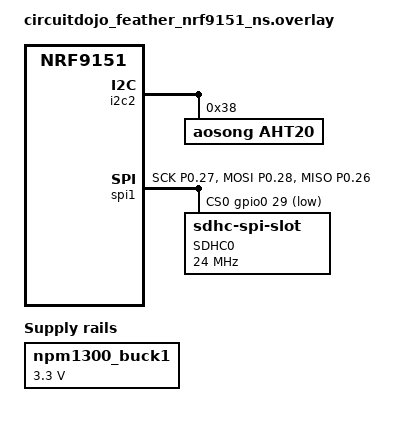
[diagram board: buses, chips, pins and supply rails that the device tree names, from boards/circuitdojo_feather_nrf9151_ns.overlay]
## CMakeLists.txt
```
# SPDX-License-Identifier: Apache-2.0

cmake_minimum_required(VERSION 3.21)

find_package(Zephyr HINTS $ENV{ZEPHYR_BASE})
project(gps-tracker-test)

# Convert certificate to hex file
set(gen_dir ${CMAKE_CURRENT_BINARY_DIR}/certs)
zephyr_include_directories(${gen_dir})

zephyr_include_directories(src/gps)
zephyr_include_directories(src/networking)
zephyr_include_directories(src/sensors)
zephyr_include_directories(src/sync)
zephyr_include_directories(src/util)
zephyr_include_directories(src/sdcard)
zephyr_include_directories(src/ui)
zephyr_include_directories(src/low_power)

generate_inc_file_for_target(
    app
    cert/LetsEncryptCert.pem
    ${gen_dir}/root_cert.pem.inc
)

target_sources(app PRIVATE
    src/main.cpp
    src/startup.c

    src/gps/gps.cpp
    src/gps/assistance.cpp
    
    src/networking/network_info.cpp
    src/networking/connectivity.cpp
    src/networking/dns.cpp
    src/networking/network_requests.cpp
    src/networking/tls.cpp
    src/networking/packet_builder.cpp

    src/sensors/battery.cpp
    src/sensors/temp_sensor.cpp
    src/sensors/pmic.cpp

    src/util/watchdog.cpp

    src/sdcard/sdcard.cpp

    src/ui/device_ui.cpp

    src/low_power/low_power.cpp
)
```

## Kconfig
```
#
# Copyright (c) 2020 Nordic Semiconductor ASA
#
# SPDX-License-Identifier: LicenseRef-Nordic-5-Clause
#

menu "GPS Tracker"

config TRACCAR_HOSTNAME
    string "Server Hostname"
    depends on NETWORKING
    help
        Url for traccar server, eg traccar.example.com

config TRACCAR_PORT
    string "Port"
    depends on NETWORKING
    help
        Traccar Port


config DNS_CACHE_ENTRIES 
    int "Cache entries"
    range 1 10
    default 3
    help
        amount of URL's DNS queries to cache

config NETWORK_PACKET_SIZE
    int "Packet Size"
    range 512 4096
    default 512
    help
        size of a network packet that will be queued

menu "GPS Settings"

config GPS_TIMEOUT_SECONDS
	int "GPS fix timeout"
	range 120 1800
	default 600
	help
	  Time in seconds to wait for a GPS fix before restarting.
	  If no fix is obtained within this time, GPS will be stopped
	  and restarted after the restart delay.

config GPS_RESTART_DELAY_SECONDS
	int "GPS restart delay"
	range 10 1800
	default 600
	help
	  Time in seconds to wait before restarting GPS after a timeout.
	  This delay allows the modem to cool down and potentially
	  improve conditions for the next fix attempt.

config GPS_PACKET_RATE_LIMIT_MILLISECONDS
    int "rate limit"
    default 30000
    help
      The minium amount of time between sending up GPS packets

endmenu

menu "SD Card"

config TRACKCAR_ENABLE_SD_CARD
	bool "Enable SD card logging"
	default n
	select DISK_ACCESS
	select DISK_DRIVERS
	select DISK_DRIVER_SDMMC
	select FILE_SYSTEM
	select FAT_FILESYSTEM_ELM
	select FILE_SYSTEM_MKFS
	select FS_FATFS_EXFAT
	depends on !NRF_MODEM_LIB_TRACE
	help
	  Enable logging to SD card. Note that this requires SD card
	  hardware and is incompatible with modem trace.

endmenu


config TRACKCAR_DEFAULT_LOG_LEVEL
    int "Level"
    range 0 4
    default 3
    help
        default log level for project

menu "Input"

config BUTTON_RELEASE_TIMEOUT_MS
    int "Timeout"
    range 50 5000
    default 250
    help
      Amount of milliseconds before a button release is registered and 
      processed

endmenu

menu "Low Power"
config TRACKCAR_LOW_POWER
    bool "Enable Low Power"
    default false
    depends on !DEBUG
    help
        Setting this to true enables low power/ship mode

endmenu


endmenu


menu "Zephyr Kernel"
source "Kconfig.zephyr"
endmenu

module = Tracker
module-str = GPS Tracker Kconfig
source "${ZEPHYR_BASE}/subsys/logging/Kconfig.template.log_config"
```

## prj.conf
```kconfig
# General
CONFIG_FPU=y
CONFIG_NRF_MODEM_LIB=y
CONFIG_STDOUT_CONSOLE=y
CONFIG_UART_INTERRUPT_DRIVEN=y
CONFIG_PICOLIBC_IO_FLOAT=y
CONFIG_AT_HOST_LIBRARY=n
CONFIG_GPIO=y
CONFIG_CPP=y
CONFIG_WATCHDOG=y
CONFIG_NCS_APPLICATION_BOOT_BANNER_STRING="GPS-Trackcar, With love from D&Z"

### Debugging
# For these to work, you need to manually edit
# the .config that the nordic vscode plugin creates.
# These are overriden by Nordics plugin, and if you set
# "Optimize for Debugging" in there, the TF-M firmware uses
# 199% of its available flash.
# CONFIG_DEBUG_OPTIMIZATIONS=y
# CONFIG_SIZE_OPTIMIZATIONS=n
# CONFIG_DEBUG=y
# --
# CONFIG_THREAD_ANALYZER=y
# CONFIG_THREAD_ANALYZER_AUTO=y
# CONFIG_THREAD_ANALYZER_AUTO_INTERVAL=10
# CONFIG_THREAD_NAME=y
###

# Accelerometer / Temperature Sensor
CONFIG_I2C=y
CONFIG_SENSOR=y
CONFIG_LIS2DH=y
CONFIG_REGULATOR=y

# LittleFS for modem pages
CONFIG_NVS=y
CONFIG_SETTINGS_NVS=y
CONFIG_SETTINGS=y
CONFIG_FLASH=y
CONFIG_FLASH_PAGE_LAYOUT=y
CONFIG_FLASH_MAP=y
CONFIG_SPI=y
CONFIG_FCB=y

### LTE Settings
# These Need more Research
CONFIG_LTE_LINK_CONTROL=y
# Request eDRX from the network
CONFIG_LTE_LC_EDRX_MODULE=y
CONFIG_LTE_EDRX_REQ=y
# PSM requested periodic TAU 8 hours
CONFIG_LTE_LC_PSM_MODULE=y
CONFIG_LTE_PSM_REQ=y
CONFIG_LTE_PSM_REQ_RPTAU="00101000"
# PSM requested active time 6 seconds
CONFIG_LTE_PSM_REQ_RAT="00000011"
###

### Networking
CONFIG_NETWORKING=y
CONFIG_NET_SOCKETS_OFFLOAD=y
CONFIG_NET_SOCKETS=y
CONFIG_POSIX_API=y
CONFIG_NET_IPV4=y
CONFIG_NET_IPV6=y
CONFIG_MODEM_KEY_MGMT=y

# Disable Duplicate Address Detection (DAD)
# due to not being properly implemented for offloaded interfaces.
# TODO: Really?
CONFIG_NET_IPV6_NBR_CACHE=n
CONFIG_NET_IPV6_MLD=n
###

# Higher level network interface control, versus modem specific commands
CONFIG_NET_CONNECTION_MANAGER=y
CONFIG_NET_CONNECTION_MANAGER_MONITOR_STACK_SIZE=4600
CONFIG_NRF_MODEM_LIB_NET_IF=y
CONFIG_NET_NATIVE=y

# Logging
CONFIG_TRACKCAR_DEFAULT_LOG_LEVEL=4
CONFIG_LOG=y
CONFIG_LOG_BACKEND_UART=y
CONFIG_LOG_MODE_DEFERRED=y
CONFIG_LOG_BACKEND_FS=y
CONFIG_LOG_RUNTIME_FILTERING=y

# Memory and stack configuration
CONFIG_HEAP_MEM_POOL_SIZE=4096
CONFIG_MAIN_STACK_SIZE=4096
CONFIG_SYSTEM_WORKQUEUE_STACK_SIZE=4096
CONFIG_LOG_BUFFER_SIZE=2048
CONFIG_AT_MONITOR_HEAP_SIZE=512
CONFIG_NRF_MODEM_LIB_HEAP_SIZE=2048

# SDCard
CONFIG_TRACKCAR_ENABLE_SD_CARD=n
CONFIG_SPI=y
CONFIG_TFM_SECURE_UART_SHARE_INSTANCE=y
CONFIG_NRF_MODEM_LIB_TRACE=n

# SDCard Backend Logging
# CONFIG_LOG_BACKEND_FS_FILE_PREFIX="log"
# CONFIG_LOG_BACKEND_FS_DIR="/SD:/logs"
# CONFIG_LOG_BACKEND_FS_FILE_SIZE=1024000000
# CONFIG_LOG_BACKEND_FS_FILES_LIMIT=16
# DO NOT set this while using FS backend, it causes an infinite loop!
# CONFIG_SD_LOG_LEVEL_DBG=y

# Button
CONFIG_INPUT=y

# PMIC
CONFIG_REGULATOR=y
CONFIG_REGULATOR_NPM1300=y

# Low Power
CONFIG_TRACKCAR_LOW_POWER=y
CONFIG_PM_DEVICE=y
CONFIG_DEBUG=n
```

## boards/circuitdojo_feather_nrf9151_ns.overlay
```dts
#include <zephyr/dt-bindings/i2c/i2c.h>

&npm1300_leds {
    nordic,led0-mode = "host";
    nordic,led1-mode = "host";
    nordic,led2-mode = "host";
};

&i2c2 {
    // clock-frequency = <I2C_BITRATE_FAST>;

    aht20: aht@38 {
        compatible = "aosong,aht20";
        reg = <0x38>;
    };
};

&pinctrl {
    spi1_default: spi1_default {
        group1 {
            psels = <NRF_PSEL(SPIM_SCK, 0, 27)>,
                    <NRF_PSEL(SPIM_MOSI, 0, 28)>,
                    <NRF_PSEL(SPIM_MISO, 0, 26)>;
        };
    };

    spi1_sleep: spi1_sleep {
        group1 {
            psels = <NRF_PSEL(SPIM_SCK, 0, 27)>,
                    <NRF_PSEL(SPIM_MOSI, 0, 28)>,
                    <NRF_PSEL(SPIM_MISO, 0, 26)>;
            low-power-enable;
        };
    };
};

&spi1 {
    compatible = "nordic,nrf-spim";
    status = "okay";
    pinctrl-0 = <&spi1_default>;
    pinctrl-1 = <&spi1_sleep>;
    pinctrl-names = "default", "sleep";
    cs-gpios = <&gpio0 29 GPIO_ACTIVE_LOW>;

    sdhc0: sdhc@0 {
        compatible = "zephyr,sdhc-spi-slot";
        reg = <0>;
        status = "okay";
        label = "SDHC0";
        spi-max-frequency = <24000000>;
        mmc {
            compatible = "zephyr,sdmmc-disk";
            status = "okay";
            disk-name = "SD";
        };
    };
};

&uart1 {
    status = "disabled";
};

/ {
    chosen {
        /delete-property/ nordic,modem-trace-uart;
    };
};

&npm1300_buck1 {
    regulator-min-microvolt = <3300000>;
    regulator-boot-on;
};

&npm1300_charger {
    term-microvolt = <4200000>;
};
```

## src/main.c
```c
/*
 * Copyright (c) 2019 Nordic Semiconductor ASA
 *
 * SPDX-License-Identifier: LicenseRef-Nordic-5-Clause
 */

#include <date_time.h>
#include <math.h>
#include <modem/lte_lc.h>
#include <modem/nrf_modem_lib.h>
#include <nrf_modem_at.h>
#include <nrf_modem_gnss.h>
#include <stdio.h>
#include <stdlib.h>
#include <string.h>
#include <zephyr/kernel.h>
#include <zephyr/logging/log.h>

LOG_MODULE_REGISTER(gnss_sample, LOG_LEVEL_DBG);

// #define CONFIG_GNSS_SAMPLE_MODE_CONTINUOUS 1

#define CONFIG_GNSS_SAMPLE_MODE_PERIODIC 1
#define CONFIG_GNSS_SAMPLE_PERIODIC_INTERVAL 10
#define CONFIG_GNSS_SAMPLE_PERIODIC_TIMEOUT 120

#define CONFIG_GNSS_SAMPLE_ASSISTANCE_MINIMAL 1
#define CONFIG_GNSS_SAMPLE_LTE_ON_DEMAND 1
#undef CONFIG_GNSS_SAMPLE_ASSISTANCE_NONE

#define PI 3.14159265358979323846
#define EARTH_RADIUS_METERS (6371.0 * 1000.0)

static struct k_work_q gnss_work_q;

#define GNSS_WORKQ_THREAD_STACK_SIZE 2304
#define GNSS_WORKQ_THREAD_PRIORITY 5

K_THREAD_STACK_DEFINE(gnss_workq_stack_area, GNSS_WORKQ_THREAD_STACK_SIZE);

// Use the nordic factory almanac
#include "assistance.h"
static struct nrf_modem_gnss_agnss_data_frame last_agnss;
static struct k_work agnss_data_get_work;
static volatile bool requesting_assistance;
// ---

static const char update_indicator[] = { '\\', '|', '/', '-' };

static struct nrf_modem_gnss_pvt_data_frame last_pvt;
static uint64_t fix_timestamp;

/* Reference position. */
static bool ref_used;
static double ref_latitude;
static double ref_longitude;

K_MSGQ_DEFINE(nmea_queue, sizeof(struct nrf_modem_gnss_nmea_data_frame*), 10, 4);
static K_SEM_DEFINE(pvt_data_sem, 0, 1);
static K_SEM_DEFINE(time_sem, 0, 1);

static struct k_poll_event events[2] = {
    K_POLL_EVENT_STATIC_INITIALIZER(K_POLL_TYPE_SEM_AVAILABLE,
        K_POLL_MODE_NOTIFY_ONLY,
        &pvt_data_sem, 0),
    K_POLL_EVENT_STATIC_INITIALIZER(K_POLL_TYPE_MSGQ_DATA_AVAILABLE,
        K_POLL_MODE_NOTIFY_ONLY,
        &nmea_queue, 0),
};

// BUILD_ASSERT(IS_ENABLED(CONFIG_LTE_NETWORK_MODE_LTE_M_GPS) || IS_ENABLED(CONFIG_LTE_NETWORK_MODE_NBIOT_GPS) || IS_ENABLED(CONFIG_LTE_NETWORK_MODE_LTE_M_NBIOT_GPS),
//     "CONFIG_LTE_NETWORK_MODE_LTE_M_GPS, "
//     "CONFIG_LTE_NETWORK_MODE_NBIOT_GPS or "
//     "CONFIG_LTE_NETWORK_MODE_LTE_M_NBIOT_GPS must be enabled");

// BUILD_ASSERT((sizeof(CONFIG_GNSS_SAMPLE_REFERENCE_LATITUDE) == 1 && sizeof(CONFIG_GNSS_SAMPLE_REFERENCE_LONGITUDE) == 1) || (sizeof(CONFIG_GNSS_SAMPLE_REFERENCE_LATITUDE) > 1 && sizeof(CONFIG_GNSS_SAMPLE_REFERENCE_LONGITUDE) > 1),
//     "CONFIG_GNSS_SAMPLE_REFERENCE_LATITUDE and "
//     "CONFIG_GNSS_SAMPLE_REFERENCE_LONGITUDE must be both either set or empty");

/* Returns the distance between two coordinates in meters. The distance is calculated using the
 * haversine formula.
 */
static double distance_calculate(double lat1, double lon1,
    double lat2, double lon2)
{
    double d_lat_rad = (lat2 - lat1) * PI / 180.0;
    double d_lon_rad = (lon2 - lon1) * PI / 180.0;

    double lat1_rad = lat1 * PI / 180.0;
    double lat2_rad = lat2 * PI / 180.0;

    double a = pow(sin(d_lat_rad / 2), 2) + pow(sin(d_lon_rad / 2), 2) * cos(lat1_rad) * cos(lat2_rad);

    double c = 2 * asin(sqrt(a));

    return EARTH_RADIUS_METERS * c;
}

static void print_distance_from_reference(struct nrf_modem_gnss_pvt_data_frame* pvt_data)
{
    if (!ref_used) {
        return;
    }

    double distance = distance_calculate(pvt_data->latitude, pvt_data->longitude,
        ref_latitude, ref_longitude);

    if (IS_ENABLED(CONFIG_GNSS_SAMPLE_MODE_TTFF_TEST)) {
        LOG_INF("Distance from reference: %.01f", distance);
    } else {
        printf("\nDistance from reference: %.01f\n", distance);
    }
}

#ifdef CONFIG_GNSS_SAMPLE_ASSISTANCE_NONE
#    error "bad"
#endif

static void gnss_event_handler(int event)
{
    int retval;
    struct nrf_modem_gnss_nmea_data_frame* nmea_data;

    switch (event) {
    case NRF_MODEM_GNSS_EVT_PVT:
        retval = nrf_modem_gnss_read(&last_pvt, sizeof(last_pvt), NRF_MODEM_GNSS_DATA_PVT);
        if (retval == 0) {
            k_sem_give(&pvt_data_sem);
        }
        break;

#if defined(CONFIG_GNSS_SAMPLE_MODE_TTFF_TEST)
    case NRF_MODEM_GNSS_EVT_FIX:
        /* Time to fix is calculated here, but it's printed from a delayed work to avoid
         * messing up the NMEA output.
         */
        time_to_fix = (k_uptime_get() - fix_timestamp) / 1000.0;
        k_work_schedule_for_queue(&gnss_work_q, &ttff_test_got_fix_work, K_MSEC(100));
        k_work_schedule_for_queue(&gnss_work_q, &ttff_test_prepare_work,
            K_SECONDS(CONFIG_GNSS_SAMPLE_MODE_TTFF_TEST_INTERVAL));
        break;
#endif /* CONFIG_GNSS_SAMPLE_MODE_TTFF_TEST */

    case NRF_MODEM_GNSS_EVT_NMEA:
        nmea_data = k_malloc(sizeof(struct nrf_modem_gnss_nmea_data_frame));
        if (nmea_data == NULL) {
            LOG_ERR("Failed to allocate memory for NMEA");
            break;
        }

        retval = nrf_modem_gnss_read(nmea_data,
            sizeof(struct nrf_modem_gnss_nmea_data_frame),
            NRF_MODEM_GNSS_DATA_NMEA);
        if (retval == 0) {
            retval = k_msgq_put(&nmea_queue, &nmea_data, K_NO_WAIT);
        }

        if (retval != 0) {
            k_free(nmea_data);
        }
        break;

    case NRF_MODEM_GNSS_EVT_AGNSS_REQ:
#if !defined(CONFIG_GNSS_SAMPLE_ASSISTANCE_NONE)
        retval = nrf_modem_gnss_read(&last_agnss,
            sizeof(last_agnss),
            NRF_MODEM_GNSS_DATA_AGNSS_REQ);
        if (retval == 0) {
            k_work_submit_to_queue(&gnss_work_q, &agnss_data_get_work);
        }
#endif /* !CONFIG_GNSS_SAMPLE_ASSISTANCE_NONE */
        break;

    default:
        break;
    }
}

#if !defined(CONFIG_GNSS_SAMPLE_ASSISTANCE_NONE)
#    if defined(CONFIG_GNSS_SAMPLE_LTE_ON_DEMAND)
K_SEM_DEFINE(lte_ready, 0, 1);

static void lte_lc_event_handler(const struct lte_lc_evt* const evt)
{
    switch (evt->type) {
    case LTE_LC_EVT_NW_REG_STATUS:
        if ((evt->nw_reg_status == LTE_LC_NW_REG_REGISTERED_HOME) || (evt->nw_reg_status == LTE_LC_NW_REG_REGISTERED_ROAMING)) {
            LOG_INF("Connected to LTE network");
            k_sem_give(&lte_ready);
        }
        break;

    default:
        break;
    }
}

void lte_connect(void)
{
    int err;

    LOG_INF("Connecting to LTE network");

    err = lte_lc_func_mode_set(LTE_LC_FUNC_MODE_ACTIVATE_LTE);
    if (err) {
        LOG_ERR("Failed to activate LTE, error: %d", err);
        return;
    }

    k_sem_take(&lte_ready, K_FOREVER);

    /* Wait for a while, because with IPv4v6 PDN the IPv6 activation takes a bit more time. */
    k_sleep(K_SECONDS(1));
}

void lte_disconnect(void)
{
    int err;

    err = lte_lc_func_mode_set(LTE_LC_FUNC_MODE_DEACTIVATE_LTE);
    if (err) {
        LOG_ERR("Failed to deactivate LTE, error: %d", err);
        return;
    }

    LOG_INF("LTE disconnected");
}
#    endif /* CONFIG_GNSS_SAMPLE_LTE_ON_DEMAND */

static const char* get_system_string(uint8_t system_id)
{
    switch (system_id) {
    case NRF_MODEM_GNSS_SYSTEM_INVALID:
        return "invalid";

    case NRF_MODEM_GNSS_SYSTEM_GPS:
        return "GPS";

    case NRF_MODEM_GNSS_SYSTEM_QZSS:
        return "QZSS";

    default:
        return "unknown";
    }
}

static void agnss_data_get_work_fn(struct k_work* item)
{
    ARG_UNUSED(item);

    int err;

    /* GPS data need is always expected to be present and first in list. */
    __ASSERT(last_agnss.system_count > 0,
        "GNSS system data need not found");
    __ASSERT(last_agnss.system[0].system_id == NRF_MODEM_GNSS_SYSTEM_GPS,
        "GPS data need not found");

#    if defined(CONFIG_GNSS_SAMPLE_ASSISTANCE_SUPL)
    /* SUPL doesn't usually provide NeQuick ionospheric corrections and satellite real time
     * integrity information. If GNSS asks only for those, the request should be ignored.
     */
    if (last_agnss.system[0].sv_mask_ephe == 0 && last_agnss.system[0].sv_mask_alm == 0 && (last_agnss.data_flags & ~(NRF_MODEM_GNSS_AGNSS_NEQUICK_REQUEST | NRF_MODEM_GNSS_AGNSS_INTEGRITY_REQUEST)) == 0) {
        LOG_INF("Ignoring assistance request for only NeQuick and/or integrity");
        return;
    }
#    endif /* CONFIG_GNSS_SAMPLE_ASSISTANCE_SUPL */

#    if defined(CONFIG_GNSS_SAMPLE_ASSISTANCE_MINIMAL)
    /* With minimal assistance, the request should be ignored if no GPS time or position
     * is requested.
     */
    if (!(last_agnss.data_flags & NRF_MODEM_GNSS_AGNSS_GPS_SYS_TIME_AND_SV_TOW_REQUEST) && !(last_agnss.data_flags & NRF_MODEM_GNSS_AGNSS_POSITION_REQUEST)) {
        LOG_INF("Ignoring assistance request because no GPS time or position is requested");
        return;
    }
#    endif /* CONFIG_GNSS_SAMPLE_ASSISTANCE_MINIMAL */

    if (last_agnss.data_flags == 0 && last_agnss.system[0].sv_mask_ephe == 0 && last_agnss.system[0].sv_mask_alm == 0) {
        LOG_INF("Ignoring assistance request because only QZSS data is requested");
        return;
    }

    requesting_assistance = true;

    LOG_INF("Assistance data needed: data_flags: 0x%02x", last_agnss.data_flags);
    for (int i = 0; i < last_agnss.system_count; i++) {
        LOG_INF("Assistance data needed: %s ephe: 0x%llx, alm: 0x%llx",
            get_system_string(last_agnss.system[i].system_id),
            last_agnss.system[i].sv_mask_ephe,
            last_agnss.system[i].sv_mask_alm);
    }

#    if defined(CONFIG_GNSS_SAMPLE_LTE_ON_DEMAND)
    lte_connect();
#    endif /* CONFIG_GNSS_SAMPLE_LTE_ON_DEMAND */

    err = assistance_request(&last_agnss);
    if (err) {
        LOG_ERR("Failed to request assistance data");
    }

#    if defined(CONFIG_GNSS_SAMPLE_LTE_ON_DEMAND)
    lte_disconnect();
#    endif /* CONFIG_GNSS_SAMPLE_LTE_ON_DEMAND */

    requesting_assistance = false;
}
#endif /* !CONFIG_GNSS_SAMPLE_ASSISTANCE_NONE */

static void date_time_evt_handler(const struct date_time_evt* evt)
{
    k_sem_give(&time_sem);
}

static int modem_init(void)
{
    if (IS_ENABLED(CONFIG_DATE_TIME)) {
        date_time_register_handler(date_time_evt_handler);
    }

#if defined(CONFIG_GNSS_SAMPLE_LTE_ON_DEMAND)
    lte_lc_register_handler(lte_lc_event_handler);
#elif !defined(CONFIG_GNSS_SAMPLE_ASSISTANCE_NONE)
    lte_lc_psm_req(true);

    LOG_INF("Connecting to LTE network");

    if (lte_lc_connect() != 0) {
        LOG_ERR("Failed to connect to LTE network");
        return -1;
    }

    LOG_INF("Connected to LTE network");

    if (IS_ENABLED(CONFIG_DATE_TIME)) {
        LOG_INF("Waiting for current time");

        /* Wait for an event from the Date Time library. */
        k_sem_take(&time_sem, K_MINUTES(10));

        if (!date_time_is_valid()) {
            LOG_WRN("Failed to get current time, continuing anyway");
        }
    }
#endif

    return 0;
}

static int sample_init(void)
{
    int err = 0;

    struct k_work_queue_config cfg = {
        .name = "gnss_work_q",
        .no_yield = false
    };

    k_work_queue_start(
        &gnss_work_q,
        gnss_workq_stack_area,
        K_THREAD_STACK_SIZEOF(gnss_workq_stack_area),
        GNSS_WORKQ_THREAD_PRIORITY,
        &cfg);

    k_work_init(&agnss_data_get_work, agnss_data_get_work_fn);

    err = assistance_init(&gnss_work_q);

    return err;
}

static int gnss_init_and_start(void)
{

#if defined(CONFIG_GNSS_SAMPLE_ASSISTANCE_NONE) || defined(CONFIG_GNSS_SAMPLE_LTE_ON_DEMAND)
    /* Enable GNSS. */
    if (lte_lc_func_mode_set(LTE_LC_FUNC_MODE_ACTIVATE_GNSS) != 0) {
        LOG_ERR("Failed to activate GNSS functional mode");
        return -1;
    }
#endif /* CONFIG_GNSS_SAMPLE_ASSISTANCE_NONE || CONFIG_GNSS_SAMPLE_LTE_ON_DEMAND */

    /* Configure GNSS. */
    if (nrf_modem_gnss_event_handler_set(gnss_event_handler) != 0) {
        LOG_ERR("Failed to set GNSS event handler");
        return -1;
    }

    /* Enable all supported NMEA messages. */
    uint16_t nmea_mask = NRF_MODEM_GNSS_NMEA_RMC_MASK | NRF_MODEM_GNSS_NMEA_GGA_MASK | NRF_MODEM_GNSS_NMEA_GLL_MASK | NRF_MODEM_GNSS_NMEA_GSA_MASK | NRF_MODEM_GNSS_NMEA_GSV_MASK;

    if (nrf_modem_gnss_nmea_mask_set(nmea_mask) != 0) {
        LOG_ERR("Failed to set GNSS NMEA mask");
        return -1;
    }

    /* Make QZSS satellites visible in the NMEA output. */
    if (nrf_modem_gnss_qzss_nmea_mode_set(NRF_MODEM_GNSS_QZSS_NMEA_MODE_CUSTOM) != 0) {
        LOG_WRN("Failed to enable custom QZSS NMEA mode");
    }

    /* This use case flag should always be set. */
    uint8_t use_case = NRF_MODEM_GNSS_USE_CASE_MULTIPLE_HOT_START;

    if (IS_ENABLED(CONFIG_GNSS_SAMPLE_MODE_PERIODIC) && !IS_ENABLED(CONFIG_GNSS_SAMPLE_ASSISTANCE_NONE)) {
        /* Disable GNSS scheduled downloads when assistance is used. */
        use_case |= NRF_MODEM_GNSS_USE_CASE_SCHED_DOWNLOAD_DISABLE;
    }

    if (nrf_modem_gnss_use_case_set(use_case) != 0) {
        LOG_WRN("Failed to set GNSS use case");
    }

#if defined(CONFIG_GNSS_SAMPLE_MODE_CONTINUOUS)
    /* Default to no power saving. */
    uint8_t power_mode = NRF_MODEM_GNSS_PSM_DISABLED;

#    if defined(CONFIG_GNSS_SAMPLE_POWER_SAVING_MODERATE)
    power_mode = NRF_MODEM_GNSS_PSM_DUTY_CYCLING_PERFORMANCE;
#    elif defined(CONFIG_GNSS_SAMPLE_POWER_SAVING_HIGH)
    power_mode = NRF_MODEM_GNSS_PSM_DUTY_CYCLING_POWER;
#    endif

    if (nrf_modem_gnss_power_mode_set(power_mode) != 0) {
        LOG_ERR("Failed to set GNSS power saving mode");
        return -1;
    }
#endif /* CONFIG_GNSS_SAMPLE_MODE_CONTINUOUS */

    /* Default to continuous tracking. */
    uint16_t fix_retry = 0;
    uint16_t fix_interval = 1;

#if defined(CONFIG_GNSS_SAMPLE_MODE_PERIODIC)
    fix_retry = CONFIG_GNSS_SAMPLE_PERIODIC_TIMEOUT;
    fix_interval = CONFIG_GNSS_SAMPLE_PERIODIC_INTERVAL;
#endif

    if (nrf_modem_gnss_fix_retry_set(fix_retry) != 0) {
        LOG_ERR("Failed to set GNSS fix retry");
        return -1;
    }

    if (nrf_modem_gnss_fix_interval_set(fix_interval) != 0) {
        LOG_ERR("Failed to set GNSS fix interval");
        return -1;
    }

    if (nrf_modem_gnss_start() != 0) {
        LOG_ERR("Failed to start GNSS");
        return -1;
    }

    int prio_rc = nrf_modem_gnss_prio_mode_enable();

    if (prio_rc != 0) {
        LOG_ERR("Failed to set GPS Priority Mode");
    }

    return 0;
}

static bool output_paused(void)
{
    return (requesting_assistance || assistance_is_active());
}

static void print_satellite_stats(struct nrf_modem_gnss_pvt_data_frame* pvt_data)
{
    uint8_t tracked = 0;
    uint8_t in_fix = 0;
    uint8_t unhealthy = 0;

    for (int i = 0; i < NRF_MODEM_GNSS_MAX_SATELLITES; ++i) {
        if (pvt_data->sv[i].sv > 0) {
            tracked++;

            if (pvt_data->sv[i].flags & NRF_MODEM_GNSS_SV_FLAG_USED_IN_FIX) {
                in_fix++;
            }

            if (pvt_data->sv[i].flags & NRF_MODEM_GNSS_SV_FLAG_UNHEALTHY) {
                unhealthy++;
            }
        }
    }

    printf("Tracking: %2d Using: %2d Unhealthy: %d\n", tracked, in_fix, unhealthy);
}

static void print_flags(struct nrf_modem_gnss_pvt_data_frame* pvt_data)
{
    if (pvt_data->flags & NRF_MODEM_GNSS_PVT_FLAG_DEADLINE_MISSED) {
        printf("GNSS operation blocked by LTE\n");
    }
    if (pvt_data->flags & NRF_MODEM_GNSS_PVT_FLAG_NOT_ENOUGH_WINDOW_TIME) {
        printf("Insufficient GNSS time windows\n");
    }
    if (pvt_data->flags & NRF_MODEM_GNSS_PVT_FLAG_SLEEP_BETWEEN_PVT) {
        printf("Sleep period(s) between PVT notifications\n");
    }
    if (pvt_data->flags & NRF_MODEM_GNSS_PVT_FLAG_SCHED_DOWNLOAD) {
        printf("Scheduled navigation data download\n");
    }
}

static void print_fix_data(struct nrf_modem_gnss_pvt_data_frame* pvt_data)
{
    printf("Latitude:          %.06f\n", pvt_data->latitude);
    printf("Longitude:         %.06f\n", pvt_data->longitude);
    printf("Accuracy:          %.01f m\n", (double)pvt_data->accuracy);
    printf("Altitude:          %.01f m\n", (double)pvt_data->altitude);
    printf("Altitude accuracy: %.01f m\n", (double)pvt_data->altitude_accuracy);
    printf("Speed:             %.01f m/s\n", (double)pvt_data->speed);
    printf("Speed accuracy:    %.01f m/s\n", (double)pvt_data->speed_accuracy);
    printf("V. speed:          %.01f m/s\n", (double)pvt_data->vertical_speed);
    printf("V. speed accuracy: %.01f m/s\n", (double)pvt_data->vertical_speed_accuracy);
    printf("Heading:           %.01f deg\n", (double)pvt_data->heading);
    printf("Heading accuracy:  %.01f deg\n", (double)pvt_data->heading_accuracy);
    printf("Date:              %04u-%02u-%02u\n",
        pvt_data->datetime.year,
        pvt_data->datetime.month,
        pvt_data->datetime.day);
    printf("Time (UTC):        %02u:%02u:%02u.%03u\n",
        pvt_data->datetime.hour,
        pvt_data->datetime.minute,
        pvt_data->datetime.seconds,
        pvt_data->datetime.ms);
    printf("PDOP:              %.01f\n", (double)pvt_data->pdop);
    printf("HDOP:              %.01f\n", (double)pvt_data->hdop);
    printf("VDOP:              %.01f\n", (double)pvt_data->vdop);
    printf("TDOP:              %.01f\n", (double)pvt_data->tdop);
}

int main(void)
{
    int err;
    uint8_t cnt = 0;
    struct nrf_modem_gnss_nmea_data_frame* nmea_data;

    LOG_INF("Starting GNSS sample");

    err = nrf_modem_lib_init();
    if (err) {
        LOG_ERR("Modem library initialization failed, error: %d", err);
        return err;
    }

    /* Initialize reference coordinates (if used). */
    // if (sizeof(CONFIG_GNSS_SAMPLE_REFERENCE_LATITUDE) > 1 && sizeof(CONFIG_GNSS_SAMPLE_REFERENCE_LONGITUDE) > 1) {
    //     ref_used = true;
    //     ref_latitude = atof(CONFIG_GNSS_SAMPLE_REFERENCE_LATITUDE);
    //     ref_longitude = atof(CONFIG_GNSS_SAMPLE_REFERENCE_LONGITUDE);
    // }

    if (modem_init() != 0) {
        LOG_ERR("Failed to initialize modem");
        return -1;
    }

    if (sample_init() != 0) {
        LOG_ERR("Failed to initialize sample");
        return -1;
    }

    if (gnss_init_and_start() != 0) {
        LOG_ERR("Failed to initialize and start GNSS");
        return -1;
    }

    fix_timestamp = k_uptime_get();

    for (;;) {
        (void)k_poll(events, 2, K_FOREVER);

        if (events[0].state == K_POLL_STATE_SEM_AVAILABLE && k_sem_take(events[0].sem, K_NO_WAIT) == 0) {
            /* New PVT data available */

            /* PVT and NMEA output mode. */

            if (output_paused()) {
                goto handle_nmea;
            }

            printf("\033[1;1H");
            printf("\033[2J");
            print_satellite_stats(&last_pvt);
            print_flags(&last_pvt);
            printf("-----------------------------------\n");

            if (last_pvt.flags & NRF_MODEM_GNSS_PVT_FLAG_FIX_VALID) {
                fix_timestamp = k_uptime_get();
                print_fix_data(&last_pvt);
                print_distance_from_reference(&last_pvt);
            } else {
                printf("Seconds since last fix: %d\n",
                    (uint32_t)((k_uptime_get() - fix_timestamp) / 1000));
                cnt++;
                printf("Searching [%c]\n", update_indicator[cnt % 4]);
            }

            printf("\nNMEA strings:\n\n");
        }

    handle_nmea:
        if (events[1].state == K_POLL_STATE_MSGQ_DATA_AVAILABLE && k_msgq_get(events[1].msgq, &nmea_data, K_NO_WAIT) == 0) {
            /* New NMEA data available */

            if (!output_paused()) {
                printf("%s", nmea_data->nmea_str);
            }
            k_free(nmea_data);
        }

        events[0].state = K_POLL_STATE_NOT_READY;
        events[1].state = K_POLL_STATE_NOT_READY;
    }

    return 0;
}
```

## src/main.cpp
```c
#include <zephyr/kernel.h>
#include <zephyr/logging/log.h>

LOG_MODULE_REGISTER(main, CONFIG_TRACKCAR_DEFAULT_LOG_LEVEL);

#include "battery.h"
#include "connectivity.h"
#include "device_ui.h"
#include "gps.h"
#include "low_power.h"
#include "network_info.h"
#include "network_requests.h"
#include "pmic.h"
#include "sdcard.h"
#include "temp_sensor.h"
#include "watchdog.h"

#include <modem/lte_lc.h>
#include <modem/nrf_modem_lib.h>

int main()
{
    watchdog_init();
    nrf_modem_lib_init();
    temp_sensor_init();
    device_ui_init();
    sdcard_init();
    battery_init();

    LOG_INF("IMEI: %s", get_imei());

    if (IS_ENABLED(CONFIG_TRACKCAR_LOW_POWER)) {
        k_sleep(K_SECONDS(5));
        set_power_mode(PowerMode::Low);
    }

    int rc = networking_init();
    network_requests_init();

    if (rc != 0) {
        LOG_ERR("Failed to init LTE, check sim card? rc = %d", rc);
        k_sleep(K_SECONDS(5));
        k_oops();
    }

    rc = gps_init();

    if (rc != 0) {
        LOG_ERR("Failed to init GPS, not under earths orbit? rc = %d", rc);
        k_sleep(K_SECONDS(5));
        k_oops();
    }

    LOG_INF("Init Done, main thread sleeping forever....");

    while (1) {
        k_sleep(K_FOREVER);
    }
}
```

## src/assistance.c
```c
/*
 * Copyright (c) 2021-2023 Nordic Semiconductor ASA
 * Copyright (c) 2025 Zach
 *
 * SPDX-License-Identifier: LicenseRef-Nordic-5-Clause
 */

#include <nrf_modem_at.h>
#include <nrf_modem_gnss.h>
#include <stdio.h>
#include <stdlib.h>
#include <zephyr/kernel.h>
#include <zephyr/logging/log.h>
#include <zephyr/settings/settings.h>
#include <zephyr/sys/timeutil.h>
#include <zephyr/sys_clock.h>

#include "assistance.h"
#include "factory_almanac_v3.h"
#include "mcc_location_table.h"

LOG_MODULE_REGISTER(almanac_helper, LOG_LEVEL_DBG);

static char current_alm_checksum[64];

static int set(const char* key, size_t len_rd, settings_read_cb read_cb, void* cb_arg)
{
    int len;
    int key_len;
    const char* next;

    if (!key) {
        return -ENOENT;
    }

    key_len = settings_name_next(key, &next);

    if (!strncmp(key, "almanac_checksum", key_len)) {
        len = read_cb(cb_arg, &current_alm_checksum, sizeof(current_alm_checksum));
        if (len < sizeof(current_alm_checksum)) {
            LOG_ERR("Failed to read almanac checksum from settings");
        }

        return 0;
    }

    return -ENOENT;
}

static struct settings_handler assistance_settings = {
    .name = "assistance",
    .h_set = set,
};

static void factory_almanac_write(void)
{
    int err;
    const char* alm_data = FACTORY_ALMANAC_DATA_V3;
    const char* alm_checksum = FACTORY_ALMANAC_CHECKSUM_V3;

    /* Check if the same almanac has already been written to prevent unnecessary writes
     * to flash memory.
     */
    if (!strncmp(current_alm_checksum, alm_checksum, sizeof(current_alm_checksum))) {
        return;
    }
    LOG_INF("New almanac flashed, updating...");

    err = nrf_modem_at_printf("AT%%XFILEWRITE=1,\"%s\",\"%s\"",
        alm_data, alm_checksum);
    if (err != 0) {
        int err_type = nrf_modem_at_err_type(err);
        int real_error = nrf_modem_at_err(err);
        LOG_ERR("Failed to write factory almanac, err = %d, real_error = %d, err_type = %d", err, real_error, err_type);
        return;
    }

    LOG_INF("Wrote factory almanac");
    err = settings_save_one("assistance/almanac_checksum",
        alm_checksum,
        sizeof(current_alm_checksum));
    if (err) {
        LOG_ERR("Failed to write almanac checksum to settings, error %d", err);
    }
}

static int64_t utc_to_gps_sec(const int64_t utc_sec)
{
    /* (6.1.1980 UTC - 1.1.1970 UTC) */
    const uint64_t gps_to_unix_utc_offset_seconds = 315964800UL;
    /* UTC/GPS time offset as of 1st of January 2017. */
    const uint64_t gps_to_utc_leap_seconds = 18UL;

    return (utc_sec - gps_to_unix_utc_offset_seconds) + gps_to_utc_leap_seconds;
}

static void gps_sec_to_day_time(int64_t gps_sec,
    uint16_t* gps_day,
    uint32_t* gps_time_of_day)
{
    *gps_day = (uint16_t)(gps_sec / SEC_PER_DAY);
    *gps_time_of_day = (uint32_t)(gps_sec % SEC_PER_DAY);
}

static void time_inject(void)
{
    int ret;
    struct tm date_time;
    int64_t utc_sec;
    int64_t gps_sec;
    struct nrf_modem_gnss_agnss_gps_data_system_time_and_sv_tow gps_time = { 0 };

    /* Read current UTC time from the modem. */
    ret = nrf_modem_at_scanf("AT+CCLK?",
        "+CCLK: \"%u/%u/%u,%u:%u:%u",
        &date_time.tm_year,
        &date_time.tm_mon,
        &date_time.tm_mday,
        &date_time.tm_hour,
        &date_time.tm_min,
        &date_time.tm_sec);
    if (ret != 6) {
        LOG_WRN("Couldn't read current time from modem, time assistance unavailable");
        return;
    }

    /* Convert to struct tm format. */
    date_time.tm_year = date_time.tm_year + 2000 - 1900; /* years since 1900 */
    date_time.tm_mon--;                                  /* months since January */

    /* Convert time to seconds since Unix time epoch (1.1.1970). */
    utc_sec = timeutil_timegm64(&date_time);
    /* Convert time to seconds since GPS time epoch (6.1.1980). */
    gps_sec = utc_to_gps_sec(utc_sec);

    gps_sec_to_day_time(gps_sec, &gps_time.date_day, &gps_time.time_full_s);

    ret = nrf_modem_gnss_agnss_write(&gps_time, sizeof(gps_time),
        NRF_MODEM_GNSS_AGNSS_GPS_SYSTEM_CLOCK_AND_TOWS);
    if (ret != 0) {
        LOG_ERR("Failed to inject time, error %d", ret);
        return;
    }

    LOG_INF("Injected time (GPS day %u, GPS time of day %u)",
        gps_time.date_day, gps_time.time_full_s);
}

static void location_inject(void)
{
    static const size_t PLMN_STR_MAX_LEN = 8; /* MCC + MNC + quotes */

    int err;
    char plmn_str[PLMN_STR_MAX_LEN + 1];
    uint16_t mcc;
    const struct mcc_table* mcc_info;
    struct nrf_modem_gnss_agnss_data_location location = { 0 };

    /* Read PLMN string from modem to get the MCC. */
    err = nrf_modem_at_scanf(
        "AT%%XMONITOR",
        "%%XMONITOR: "
        "%*d"                                    /* <reg_status>: ignored */
        ",%*[^,]"                                /* <full_name>: ignored */
        ",%*[^,]"                                /* <short_name>: ignored */
        ",%" STRINGIFY(PLMN_STR_MAX_LEN) "[^,]", /* <plmn> */
        plmn_str);
    if (err != 1) {
        LOG_WRN("Couldn't read PLMN from modem, location assistance unavailable");
        return;
    }

    /* NULL terminate MCC and read it. */
    plmn_str[4] = '\0';
    mcc = strtol(plmn_str + 1, NULL, 10);

    mcc_info = mcc_lookup(mcc);
    if (mcc_info == NULL) {
        LOG_WRN("No location found for MCC %u", mcc);
        return;
    }

    location.latitude = lat_convert(mcc_info->lat);
    location.longitude = lon_convert(mcc_info->lon);
    location.unc_semimajor = mcc_info->unc_semimajor;
    location.unc_semiminor = mcc_info->unc_semiminor;
    location.orientation_major = mcc_info->orientation;
    location.confidence = mcc_info->confidence;

#if defined(CONFIG_GNSS_SAMPLE_LOW_ACCURACY)
    if (CONFIG_GNSS_SAMPLE_ASSISTANCE_REFERENCE_ALT != -32767) {
        /* Use reference altitude to enable 3-sat first fix. */
        LOG_INF("Using reference altitude %d meters",
            CONFIG_GNSS_SAMPLE_ASSISTANCE_REFERENCE_ALT);
        location.altitude = CONFIG_GNSS_SAMPLE_ASSISTANCE_REFERENCE_ALT;
        /* The altitude uncertainty has to be less than 100 meters (coded number K has to
         * be less than 48) for the altitude to be used for a 3-sat fix. GNSS increases
         * the uncertainty depending on the age of the altitude and whether the device is
         * stationary or moving. The uncertainty is set to 0 (meaning 0 meters), so that
         * it remains usable for a 3-sat fix for as long as possible.
         */
        location.unc_altitude = 0;
    } else
#endif
    {
        location.unc_altitude = 255; /* altitude not used */
    }

    err = nrf_modem_gnss_agnss_write(
        &location, sizeof(location), NRF_MODEM_GNSS_AGNSS_LOCATION);
    if (err) {
        LOG_ERR("Failed to inject location for MCC %u, error %d", mcc, err);
        return;
    }

    LOG_INF("Injected location for MCC %u", mcc);
}

const char* get_system_string(uint8_t system_id)
{
    switch (system_id) {
    case NRF_MODEM_GNSS_SYSTEM_INVALID:
        return "invalid";

    case NRF_MODEM_GNSS_SYSTEM_GPS:
        return "GPS";

    case NRF_MODEM_GNSS_SYSTEM_QZSS:
        return "QZSS";

    default:
        return "unknown";
    }
}

int assistance_init()
{
    int err;

    err = settings_subsys_init();
    if (err) {
        LOG_ERR("Settings subsystem initialization failed, error %d", err);
        return err;
    }

    err = settings_register(&assistance_settings);
    if (err) {
        LOG_ERR("Registering settings handler failed, error %d", err);
        return err;
    }

    err = settings_load();
    if (err) {
        LOG_ERR("Loading settings failed, error %d", err);
        return err;
    }

    factory_almanac_write();

    return 0;
}

int assistance_request(const struct nrf_modem_gnss_agnss_data_frame* agnss_request)
{
    // Check your pointers Nordic!
    if (agnss_request == NULL) {
        return -1;
    }

    if (agnss_request->system_count > 0) {
        LOG_WRN("GNSS system data need not found!, system_count: %d", agnss_request->system_count);
        return 0;
    }

    if (agnss_request->system[0].system_id == NRF_MODEM_GNSS_SYSTEM_GPS) {
        LOG_WRN("GPS data need not found");
        return 0;
    }

    if (!(agnss_request->data_flags & NRF_MODEM_GNSS_AGNSS_GPS_SYS_TIME_AND_SV_TOW_REQUEST) && !(agnss_request->data_flags & NRF_MODEM_GNSS_AGNSS_POSITION_REQUEST)) {
        LOG_INF("Ignoring assistance request because no GPS time or position is requested");
        return 0;
    }

    if (agnss_request->data_flags == 0 && agnss_request->system[0].sv_mask_ephe == 0 && agnss_request->system[0].sv_mask_alm == 0) {
        LOG_INF("Ignoring assistance request because only QZSS data is requested");
        return 0;
    }

    LOG_INF("Assistance data needed: data_flags: 0x%02x", agnss_request->data_flags);
    for (int i = 0; i < agnss_request->system_count; i++) {
        LOG_INF("Assistance data needed: %s ephe: 0x%llx, alm: 0x%llx",
            get_system_string(agnss_request->system[i].system_id),
            agnss_request->system[i].sv_mask_ephe,
            agnss_request->system[i].sv_mask_alm);
    }

    if (agnss_request->data_flags & NRF_MODEM_GNSS_AGNSS_GPS_SYS_TIME_AND_SV_TOW_REQUEST) {
        time_inject();
    }

    if (agnss_request->data_flags & NRF_MODEM_GNSS_AGNSS_POSITION_REQUEST) {
        location_inject();
    }

    return 0;
}

bool assistance_is_active(void)
{
    /* Always return false because assistance_request() doesn't take much time. */
    return false;
}
```

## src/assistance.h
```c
/*
 * Copyright (c) 2019 Nordic Semiconductor ASA
 *
 * SPDX-License-Identifier: LicenseRef-Nordic-5-Clause
 */

#ifndef ASSISTANCE_H_
#define ASSISTANCE_H_

#ifdef __cplusplus
extern "C" {
#endif

/**
 * @brief Initializes the assistance module.
 *
 * @param[in] assistance_work_q Work queue that can be used by the assistance module.
 *
 * @retval 0 on success.
 * @retval -1 in case of an error.
 */
int assistance_init();

/**
 * @brief Handles an assistance data request.
 *
 * @details Fetches and injects assistance data to the GNSS.
 *
 * @param[in] agnss_request A-GNSS data requested by GNSS.
 *
 * @retval 0 on success.
 * @retval <0 in case of an error.
 */
int assistance_request(const struct nrf_modem_gnss_agnss_data_frame* agnss_request);

/**
 * @brief Returns assistance module state.
 *
 * @retval true if assistance module is downloading data.
 * @retval false if assistance module is idle.
 */
bool assistance_is_active(void);

#ifdef __cplusplus
}
#endif

#endif /* ASSISTANCE_H_ */
```

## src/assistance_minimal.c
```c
/*
 * Copyright (c) 2021-2023 Nordic Semiconductor ASA
 *
 * SPDX-License-Identifier: LicenseRef-Nordic-5-Clause
 */

#include <nrf_modem_at.h>
#include <nrf_modem_gnss.h>
#include <stdio.h>
#include <stdlib.h>
#include <zephyr/kernel.h>
#include <zephyr/logging/log.h>
#include <zephyr/settings/settings.h>
#include <zephyr/sys/timeutil.h>
#include <zephyr/sys_clock.h>

#include "assistance.h"
#include "factory_almanac_v3.h"
#include "mcc_location_table.h"

LOG_MODULE_REGISTER(almanac_helper, LOG_LEVEL_DBG);

/* (6.1.1980 UTC - 1.1.1970 UTC) */
#define GPS_TO_UNIX_UTC_OFFSET_SECONDS (315964800UL)
/* UTC/GPS time offset as of 1st of January 2017. */
#define GPS_TO_UTC_LEAP_SECONDS (18UL)
#define DAYS_PER_WEEK (7UL)
#define PLMN_STR_MAX_LEN 8 /* MCC + MNC + quotes */

static char current_alm_checksum[64];

static int set(const char* key, size_t len_rd, settings_read_cb read_cb, void* cb_arg)
{
    int len;
    int key_len;
    const char* next;

    if (!key) {
        return -ENOENT;
    }

    key_len = settings_name_next(key, &next);

    if (!strncmp(key, "almanac_checksum", key_len)) {
        len = read_cb(cb_arg, &current_alm_checksum, sizeof(current_alm_checksum));
        if (len < sizeof(current_alm_checksum)) {
            LOG_ERR("Failed to read almanac checksum from settings");
        }

        return 0;
    }

    return -ENOENT;
}

static struct settings_handler assistance_settings = {
    .name = "assistance",
    .h_set = set,
};

static void factory_almanac_write(void)
{
    int err;
    const char* alm_data;
    const char* alm_checksum;

    alm_data = FACTORY_ALMANAC_DATA_V3;
    alm_checksum = FACTORY_ALMANAC_CHECKSUM_V3;

    {

        char resp_buffer[256] = { '\0' };

        int rc = nrf_modem_at_cmd(resp_buffer, sizeof(resp_buffer), "AT+CFUN?");

        printk("CFUN Response: %s\n", resp_buffer);
    }

    printk("Current Checksum: %s\n", current_alm_checksum);

    /* Check if the same almanac has already been written to prevent unnecessary writes
     * to flash memory.
     */
    if (!strncmp(current_alm_checksum, alm_checksum, sizeof(current_alm_checksum))) {
        LOG_INF("Factory almanac has already been written, skipping writing");
        return;
    }

    err = nrf_modem_at_printf("AT%%XFILEWRITE=1,\"%s\",\"%s\"",
        alm_data, alm_checksum);
    if (err != 0) {

        int err_type = nrf_modem_at_err_type(err);
        int real_error = nrf_modem_at_err(err);
        LOG_ERR("Failed to write factory almanac, err = %d, real_error = %d, err_type = %d", err, real_error, err_type);
        // What the above command gives:
        // [00:00:20.898,254] <err> almanac_helper: Failed to write factory almanac, err = 65536, real_error = 0, err_type = 1
        return;
    }

    LOG_INF("Wrote factory almanac");
    err = settings_save_one("assistance/almanac_checksum",
        alm_checksum,
        sizeof(current_alm_checksum));
    if (err) {
        LOG_ERR("Failed to write almanac checksum to settings, error %d", err);
    }
}

static int64_t utc_to_gps_sec(const int64_t utc_sec)
{
    return (utc_sec - GPS_TO_UNIX_UTC_OFFSET_SECONDS) + GPS_TO_UTC_LEAP_SECONDS;
}

static void gps_sec_to_day_time(int64_t gps_sec,
    uint16_t* gps_day,
    uint32_t* gps_time_of_day)
{
    *gps_day = (uint16_t)(gps_sec / SEC_PER_DAY);
    *gps_time_of_day = (uint32_t)(gps_sec % SEC_PER_DAY);
}

static void time_inject(void)
{
    int ret;
    struct tm date_time;
    int64_t utc_sec;
    int64_t gps_sec;
    struct nrf_modem_gnss_agnss_gps_data_system_time_and_sv_tow gps_time = { 0 };

    /* Read current UTC time from the modem. */
    ret = nrf_modem_at_scanf("AT+CCLK?",
        "+CCLK: \"%u/%u/%u,%u:%u:%u",
        &date_time.tm_year,
        &date_time.tm_mon,
        &date_time.tm_mday,
        &date_time.tm_hour,
        &date_time.tm_min,
        &date_time.tm_sec);
    if (ret != 6) {
        LOG_WRN("Couldn't read current time from modem, time assistance unavailable");
        return;
    }

    /* Convert to struct tm format. */
    date_time.tm_year = date_time.tm_year + 2000 - 1900; /* years since 1900 */
    date_time.tm_mon--;                                  /* months since January */

    /* Convert time to seconds since Unix time epoch (1.1.1970). */
    utc_sec = timeutil_timegm64(&date_time);
    /* Convert time to seconds since GPS time epoch (6.1.1980). */
    gps_sec = utc_to_gps_sec(utc_sec);

    gps_sec_to_day_time(gps_sec, &gps_time.date_day, &gps_time.time_full_s);

    ret = nrf_modem_gnss_agnss_write(&gps_time, sizeof(gps_time),
        NRF_MODEM_GNSS_AGNSS_GPS_SYSTEM_CLOCK_AND_TOWS);
    if (ret != 0) {
        LOG_ERR("Failed to inject time, error %d", ret);
        return;
    }

    LOG_INF("Injected time (GPS day %u, GPS time of day %u)",
        gps_time.date_day, gps_time.time_full_s);
}

static void location_inject(void)
{
    int err;
    char plmn_str[PLMN_STR_MAX_LEN + 1];
    uint16_t mcc;
    const struct mcc_table* mcc_info;
    struct nrf_modem_gnss_agnss_data_location location = { 0 };

    /* Read PLMN string from modem to get the MCC. */
    err = nrf_modem_at_scanf(
        "AT%XMONITOR",
        "%%XMONITOR: "
        "%*d"                                    /* <reg_status>: ignored */
        ",%*[^,]"                                /* <full_name>: ignored */
        ",%*[^,]"                                /* <short_name>: ignored */
        ",%" STRINGIFY(PLMN_STR_MAX_LEN) "[^,]", /* <plmn> */
        plmn_str);
    if (err != 1) {
        LOG_WRN("Couldn't read PLMN from modem, location assistance unavailable");
        return;
    }

    /* NULL terminate MCC and read it. */
    plmn_str[4] = '\0';
    mcc = strtol(plmn_str + 1, NULL, 10);

    mcc_info = mcc_lookup(mcc);
    if (mcc_info == NULL) {
        LOG_WRN("No location found for MCC %u", mcc);
        return;
    }

    location.latitude = lat_convert(mcc_info->lat);
    location.longitude = lon_convert(mcc_info->lon);
    location.unc_semimajor = mcc_info->unc_semimajor;
    location.unc_semiminor = mcc_info->unc_semiminor;
    location.orientation_major = mcc_info->orientation;
    location.confidence = mcc_info->confidence;

#if defined(CONFIG_GNSS_SAMPLE_LOW_ACCURACY)
    if (CONFIG_GNSS_SAMPLE_ASSISTANCE_REFERENCE_ALT != -32767) {
        /* Use reference altitude to enable 3-sat first fix. */
        LOG_INF("Using reference altitude %d meters",
            CONFIG_GNSS_SAMPLE_ASSISTANCE_REFERENCE_ALT);
        location.altitude = CONFIG_GNSS_SAMPLE_ASSISTANCE_REFERENCE_ALT;
        /* The altitude uncertainty has to be less than 100 meters (coded number K has to
         * be less than 48) for the altitude to be used for a 3-sat fix. GNSS increases
         * the uncertainty depending on the age of the altitude and whether the device is
         * stationary or moving. The uncertainty is set to 0 (meaning 0 meters), so that
         * it remains usable for a 3-sat fix for as long as possible.
         */
        location.unc_altitude = 0;
    } else
#endif
    {
        location.unc_altitude = 255; /* altitude not used */
    }

    err = nrf_modem_gnss_agnss_write(
        &location, sizeof(location), NRF_MODEM_GNSS_AGNSS_LOCATION);
    if (err) {
        LOG_ERR("Failed to inject location for MCC %u, error %d", mcc, err);
        return;
    }

    LOG_INF("Injected location for MCC %u", mcc);
}

int assistance_init(struct k_work_q* assistance_work_q)
{
    ARG_UNUSED(assistance_work_q);

    int err;

    err = settings_subsys_init();
    if (err) {
        LOG_ERR("Settings subsystem initialization failed, error %d", err);
        return err;
    }

    err = settings_register(&assistance_settings);
    if (err) {
        LOG_ERR("Registering settings handler failed, error %d", err);
        return err;
    }

    err = settings_load();
    if (err) {
        LOG_ERR("Loading settings failed, error %d", err);
        return err;
    }

    factory_almanac_write();

    return 0;
}

int assistance_request(struct nrf_modem_gnss_agnss_data_frame* agnss_request)
{
    if (agnss_request->data_flags & NRF_MODEM_GNSS_AGNSS_GPS_SYS_TIME_AND_SV_TOW_REQUEST) {
        time_inject();
    }

    if (agnss_request->data_flags & NRF_MODEM_GNSS_AGNSS_POSITION_REQUEST) {
        location_inject();
    }

    return 0;
}

bool assistance_is_active(void)
{
    /* Always return false because assistance_request() doesn't take much time. */
    return false;
}
```

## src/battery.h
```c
#pragma once

int battery_init();

float get_battery_soc();

void get_battery_stats();
```

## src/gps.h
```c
#pragma once

// TODO: Pass a workqueue?
int gps_init();
```

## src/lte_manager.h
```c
// #pragma once

// enum class ModemMode {
//     connect_lte,
//     deactivate_lte,
//     connect_gps,
//     deactivate_gps,
// };

// int lte_init();

// int lte_set_modem_mode(ModemMode mode);
```
